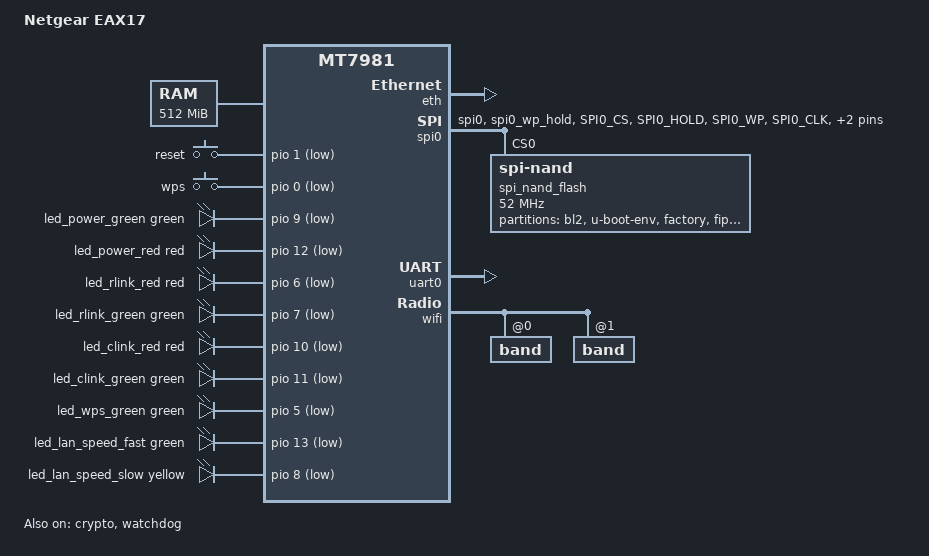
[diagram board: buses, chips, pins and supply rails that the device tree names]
// SPDX-License-Identifier: (GPL-2.0 OR MIT)

/dts-v1/;
#include "mt7981b.dtsi"

/ {
	model = "Netgear EAX17";
	compatible = "netgear,eax17", "mediatek,mt7981-spim-snand-rfb";

	aliases {
		led-boot = &led_power_green;
		led-failsafe = &led_power_red;
		led-running = &led_power_green;
		led-upgrade = &led_power_red;
		serial0 = &uart0;
	};

	chosen {
		stdout-path = "serial0:115200n8";
	};

	memory@40000000 {
		reg = <0 0x40000000 0 0x20000000>;
		device_type = "memory";
	};

	gpio-keys {
		compatible = "gpio-keys";

		reset {
			label = "reset";
			linux,code = <KEY_RESTART>;
			gpios = <&pio 1 GPIO_ACTIVE_LOW>;
		};

		wps {
			label = "wps";
			linux,code = <KEY_WPS_BUTTON>;
			gpios = <&pio 0 GPIO_ACTIVE_LOW>;
		};
	};

	gpio-leds {
		compatible = "gpio-leds";

		led_power_green: power_green {
			color = <LED_COLOR_ID_GREEN>;
			function = LED_FUNCTION_POWER;
			gpios = <&pio 9 GPIO_ACTIVE_LOW>;
		};

		led_power_red: power_red {
			color = <LED_COLOR_ID_RED>;
			function = LED_FUNCTION_POWER;
			gpios = <&pio 12 GPIO_ACTIVE_LOW>;
		};

		led_rlink_red: rlink_red {
			color = <LED_COLOR_ID_RED>;
			function = LED_FUNCTION_LAN;
			gpios = <&pio 6 GPIO_ACTIVE_LOW>;
		};

		led_rlink_green: rlink_green {
			color = <LED_COLOR_ID_GREEN>;
			function = LED_FUNCTION_LAN;
			gpios = <&pio 7 GPIO_ACTIVE_LOW>;
		};

		led_clink_red: clink_red {
			color = <LED_COLOR_ID_RED>;
			function = LED_FUNCTION_WAN;
			gpios = <&pio 10 GPIO_ACTIVE_LOW>;
		};

		led_clink_green: clink_green {
			color = <LED_COLOR_ID_GREEN>;
			function = LED_FUNCTION_WAN;
			gpios = <&pio 11 GPIO_ACTIVE_LOW>;
		};

		led_wps_green: wps_green {
			color = <LED_COLOR_ID_GREEN>;
			function = LED_FUNCTION_WPS;
			gpios = <&pio 5 GPIO_ACTIVE_LOW>;
		};

		led_lan_speed_fast: lan_speed_fast {
			color = <LED_COLOR_ID_GREEN>;
			function = LED_FUNCTION_STATUS;
			gpios = <&pio 13 GPIO_ACTIVE_LOW>;
		};

		led_lan_speed_slow: lan_speed_slow {
			color = <LED_COLOR_ID_YELLOW>;
			function = LED_FUNCTION_STATUS;
			gpios = <&pio 8 GPIO_ACTIVE_LOW>;
		};

	};

};

&eth {
	status = "okay";

	gmac0: mac@0 {
		status = "disabled";
	};

	gmac1: mac@1 {
		compatible = "mediatek,eth-mac";
		reg = <1>;
		phy-mode = "gmii";
		phy-handle = <&int_gbe_phy>;

		nvmem-cells = <&ethaddr 0>;
		nvmem-cell-names = "mac-address";
	};
};

&crypto {
	status = "okay";
};

&pio {
	spi_flash_pins: spi0-pins {
		mux {
			function = "spi";
			groups = "spi0", "spi0_wp_hold";
		};

		conf-pu {
			pins = "SPI0_CS", "SPI0_HOLD", "SPI0_WP";
			drive-strength = <MTK_DRIVE_8mA>;
			bias-pull-up = <MTK_PUPD_SET_R1R0_11>;
		};

		conf-pd {
			pins = "SPI0_CLK", "SPI0_MOSI", "SPI0_MISO";
			drive-strength = <MTK_DRIVE_8mA>;
			bias-pull-down = <MTK_PUPD_SET_R1R0_11>;
		};
	};
};

&spi0 {
	pinctrl-names = "default";
	pinctrl-0 = <&spi_flash_pins>;
	status = "okay";

	spi_nand_flash: flash@0 {
		compatible = "spi-nand";
		reg = <0>;

		spi-max-frequency = <52000000>;
		spi-tx-bus-width = <4>;
		spi-rx-bus-width = <4>;

		partitions {
			#address-cells = <1>;
			#size-cells = <1>;
			compatible = "fixed-partitions";

			partition@0 {
				label = "bl2";
				reg = <0x0 0x100000>;
				read-only;
			};

			partition@100000 {
				label = "u-boot-env";
				reg = <0x0100000 0x0080000>;
			};

			factory: partition@180000 {
				label = "factory";
				reg = <0x180000 0x200000>;
				compatible = "nvmem-cells";
				#address-cells = <1>;
				#size-cells = <1>;

				eeprom_factory_0: eeprom@0 {
					reg = <0x0 0x1000>;
				};
			};

			partition@380000 {
				label = "fip";
				reg = <0x380000 0x0200000>;
			};

			partition@580000 {
				label = "ubi";
				reg = <0x580000 0x5000000>;
				compatible = "linux,ubi";

				volumes {
					ubi-volume-u-boot-env {
						volname = "u-boot-env";

						nvmem-layout {
							compatible = "u-boot,env";
							env-size = <0x80000>;

							ethaddr: ethaddr {
								#nvmem-cell-cells = <1>;
							};
						};
					};
				};
			};

			partition@5580000 {
				label = "facenv";
				reg = <0x5580000 0x200000>;
			};

			partition@5780000 {
				label = "rae";
				reg = <0x5780000 0x600000>;
			};

			partition@5D80000 {
				label = "pot";
				reg = <0x5D80000 0x020000>;
			};

			partition@5DA0000 {
				label = "log";
				reg = <0x5DA0000 0x040000>;
			};

		};
	};
};

&xhci {
	status = "disabled";
};

&uart0 {
	status = "okay";
};

&watchdog {
	status = "okay";
};

&wifi {
	status = "okay";
	nvmem-cells = <&eeprom_factory_0>;
	nvmem-cell-names = "eeprom";

	band@0 {
		reg = <0>;
		nvmem-cells = <&ethaddr 2>;
		nvmem-cell-names = "mac-address";
	};

	band@1 {
		reg = <1>;
		nvmem-cells = <&ethaddr 3>;
		nvmem-cell-names = "mac-address";
	};
};

&pcie {
	status = "disabled";
};
